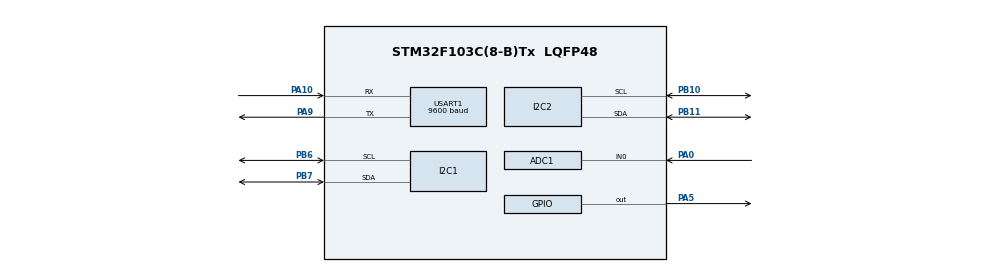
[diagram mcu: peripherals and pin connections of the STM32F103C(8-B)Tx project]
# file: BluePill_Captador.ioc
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ADC1.Channel-0\#ChannelRegularConversion=ADC_CHANNEL_0
ADC1.NbrOfConversionFlag=1
ADC1.Rank-0\#ChannelRegularConversion=1
ADC1.SamplingTime-0\#ChannelRegularConversion=ADC_SAMPLETIME_1CYCLE_5
ADC1.master=1
I2C1.I2C_Mode=I2C_Fast
I2C2.I2C_Mode=I2C_Fast
Mcu.Family=STM32F1
Mcu.Name=STM32F103C(8-B)Tx
Mcu.Package=LQFP48
NVIC.PriorityGroup=NVIC_PRIORITYGROUP_4
PA0-WKUP.Signal=ADCx_IN0
PA10.Mode=Asynchronous
PA10.Signal=USART1_RX
PA13.Mode=Serial_Wire
PA13.Signal=SYS_JTMS-SWDIO
PA14.Mode=Serial_Wire
PA14.Signal=SYS_JTCK-SWCLK
PA5.Signal=GPIO_Output
PA9.Mode=Asynchronous
PA9.Signal=USART1_TX
PB10.Mode=I2C
PB10.Signal=I2C2_SCL
PB11.Mode=I2C
PB11.Signal=I2C2_SDA
PB6.Mode=I2C
PB6.Signal=I2C1_SCL
PB7.Mode=I2C
PB7.Signal=I2C1_SDA
ProjectManager.HeapSize=0x200
ProjectManager.StackSize=0x400
ProjectManager.TargetToolchain=STM32CubeIDE
RCC.APB1Freq_Value=8000000
RCC.APB2Freq_Value=8000000
SH.ADCx_IN0.0=ADC1_IN0,IN0
USART1.BaudRate=9600
USART1.VirtualMode=VM_ASYNC
board=custom

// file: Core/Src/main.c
/* USER CODE BEGIN Header */
/**
  ******************************************************************************
  * @file           : main.c
  * @brief          : Main program body
  ******************************************************************************
  * @attention
  *
  * <h2><center>&copy; Copyright (c) 2021 STMicroelectronics.
  * All rights reserved.</center></h2>
  *
  * This software component is licensed by ST under BSD 3-Clause license,
  * the "License"; You may not use this file except in compliance with the
  * License. You may obtain a copy of the License at:
  *                        opensource.org/licenses/BSD-3-Clause
  *
  ******************************************************************************
  */
/* USER CODE END Header */
#include "main.h"

/* USER CODE BEGIN Includes */
#include <math.h>
#include <stdlib.h>
#include <stdio.h>
#include "HMC5883L.h"
/* USER CODE END Includes */

/* USER CODE BEGIN PD */

//DEFIINCIÓN DE LAS DIRECCIONES DE LOS REGISTROS DEL MPU6050

/* USER CODE END PD */

ADC_HandleTypeDef hadc1;

I2C_HandleTypeDef hi2c1;
I2C_HandleTypeDef hi2c2;

UART_HandleTypeDef huart1;

/* USER CODE BEGIN PV */

typedef struct
{

    int16_t Accel_X_RAW;
    int16_t Accel_Y_RAW;
    int16_t Accel_Z_RAW;
    double Ax;
    double Ay;
    double Az;

    int16_t Gyro_X_RAW;
    int16_t Gyro_Y_RAW;
    int16_t Gyro_Z_RAW;
    double Gx;
    double Gy;
    double Gz;

    float Temperature;

double pitch;
double jaw;
double roll;

double No_fil_ang;
    double KalmanAngleX;
    double KalmanAngleY;
    double timer;
} MPU6050_t;

typedef struct{
	int16_t mx;
	int16_t my;
	int16_t mz;
	float Xh;
	float Yh;
	float compass;
	float compass_offset;
	float Kalman;
}HMC5883L_t;

// Kalman structure
typedef struct
{
    double Q_angle;
    double Q_bias;
    double R_measure;
    double angle;
    double bias;
    double P[2][2];
} Kalman_t;

typedef struct{
	float L1;
	float L2;
	float L1_robot;
	float L2_robot;
	float TamRatio;
	float base;
	float codo;
	float servo;
	char base_t[32];
	char codo_t[32];
	char servo_t[32];
} Kinematic_t;

//MODELO CINEMATICO

#define RAD_TO_DEG 57.295779513082320876798154814105

#define WHO_AM_I_REG 0x75
#define PWR_MGMT_1_REG 0x6B
#define SMPLRT_DIV_REG 0x19
#define ACCEL_CONFIG_REG 0x1C
#define ACCEL_XOUT_H_REG 0x3B
#define TEMP_OUT_H_REG 0x41
#define GYRO_CONFIG_REG 0x1B
#define GYRO_XOUT_H_REG 0x43

// Setup MPU6050
#define MPU6050_ADDR 0xD0
const uint16_t i2c_timeout = 100;
const double Accel_Z_corrector = 14418.0;

uint32_t timer;
uint32_t timer_compass;

Kalman_t KalmanX_1 = {
    .Q_angle = 0.001f,  // 0.001
    .Q_bias = 0.0006f,   ///0.003f
    .R_measure = 0.05f}; // 0.03f

Kalman_t KalmanX_2 = {
    .Q_angle = 0.001f,
    .Q_bias = 0.0006f,
    .R_measure = 0.05f};

Kalman_t KalmanY_1 = {
    .Q_angle = 0.001f,
    .Q_bias = 0.0006f,
    .R_measure = 0.05f,
};
Kalman_t KalmanY_2 = {
    .Q_angle = 0.001f,
    .Q_bias = 0.006f,
    .R_measure = 0.05f,
};

Kalman_t Kalman_jaw={
		.Q_angle = 0.001f,
		    .Q_bias =0.0006f,
		    .R_measure = 0.06f,
};
Kinematic_t kinematic={
		.L1 = 0.25,
		.L2  =0.15,
		.L1_robot = 0.25,
		.L2_robot = 0.15,
};

MPU6050_t MPU6050_1 , MPU6050_2;
HMC5883L_t compass = {.compass_offset =0.00f};
 double giro_z;

 double P_previa,Kalman,ADC_val;
	char palabra[32];
	char palabra2[32];
	char palabra3[32];
	char palabra4[32];
	char palabra5[32];
	char palabra6[32];
	char info_real[32], info_kalman[32];
		char ln[] = "\n"; // \n\r
		char comma[] = ",";
double trans_time=0;

float desv_tipica = 2.0231;

  	int X_estimate,X,X_test;

  	float angulo_magne,angulo_magne2;
  	float Xh,Yh;
/* USER CODE END PV */

void SystemClock_Config(void);
static void MX_GPIO_Init(void);
static void MX_ADC1_Init(void);
static void MX_I2C1_Init(void);
static void MX_I2C2_Init(void);
static void MX_USART1_UART_Init(void);

/* USER CODE BEGIN 0 */

uint8_t MPU6050_Init(I2C_HandleTypeDef hi2c)
{
    uint8_t check;
    uint8_t Data;

    // check device ID WHO_AM_I

    HAL_I2C_Mem_Read(&hi2c, MPU6050_ADDR, WHO_AM_I_REG, 1, &check, 1, i2c_timeout);

    if (check == 104) // 0x68 will be returned by the sensor if everything goes well
    {
        // power management register 0X6B we should write all 0's to wake the sensor up
        Data = 0;
        HAL_I2C_Mem_Write(&hi2c, MPU6050_ADDR, PWR_MGMT_1_REG, 1, &Data, 1, i2c_timeout);

        // Set DATA RATE of 1KHz by writing SMPLRT_DIV register
        Data = 0x07;
        HAL_I2C_Mem_Write(&hi2c, MPU6050_ADDR, SMPLRT_DIV_REG, 1, &Data, 1, i2c_timeout);

        // Set accelerometer configuration in ACCEL_CONFIG Register
        // XA_ST=0,YA_ST=0,ZA_ST=0, FS_SEL=0 -> � 2g
        Data = 0x00;
        HAL_I2C_Mem_Write(&hi2c, MPU6050_ADDR, ACCEL_CONFIG_REG, 1, &Data, 1, i2c_timeout);

        // Set Gyroscopic configuration in GYRO_CONFIG Register
        // XG_ST=0,YG_ST=0,ZG_ST=0, FS_SEL=0 -> � 250 �/s
        Data = 0x00;
        HAL_I2C_Mem_Write(&hi2c, MPU6050_ADDR, GYRO_CONFIG_REG, 1, &Data, 1, i2c_timeout);
        return 0;
    }
    return 1;
}

void MPU6050_Read_Accel( MPU6050_t *DataStruct)
{
    uint8_t Rec_Data[6];

    // Read 6 BYTES of data starting from ACCEL_XOUT_H register

    HAL_I2C_Mem_Read(&hi2c1, MPU6050_ADDR, ACCEL_XOUT_H_REG, 1, Rec_Data, 6, i2c_timeout);

    DataStruct->Accel_X_RAW = (int16_t)(Rec_Data[0] << 8 | Rec_Data[1]);
    DataStruct->Accel_Y_RAW = (int16_t)(Rec_Data[2] << 8 | Rec_Data[3]);
    DataStruct->Accel_Z_RAW = (int16_t)(Rec_Data[4] << 8 | Rec_Data[5]);

    /*** convert the RAW values into acceleration in 'g'
         we have to divide according to the Full scale value set in FS_SEL
         I have configured FS_SEL = 0. So I am dividing by 16384.0
         for more details check ACCEL_CONFIG Register              ****/

    DataStruct->Ax = DataStruct->Accel_X_RAW / 16384.0;
    DataStruct->Ay = DataStruct->Accel_Y_RAW / 16384.0;
    DataStruct->Az = DataStruct->Accel_Z_RAW / Accel_Z_corrector;
}

void MPU6050_Read_Gyro(I2C_HandleTypeDef *I2Cx, MPU6050_t *DataStruct) {
    uint8_t Rec_Data[6];

    // Read 6 BYTES of data starting from GYRO_XOUT_H register

    HAL_I2C_Mem_Read(I2Cx, MPU6050_ADDR, GYRO_XOUT_H_REG, 1, Rec_Data, 6, i2c_timeout);

    DataStruct->Gyro_X_RAW = (int16_t) (Rec_Data[0] << 8 | Rec_Data[1]);
    DataStruct->Gyro_Y_RAW = (int16_t) (Rec_Data[2] << 8 | Rec_Data[3]);
    DataStruct->Gyro_Z_RAW = (int16_t) (Rec_Data[4] << 8 | Rec_Data[5]);

    /*** convert the RAW values into dps (�/s)
         we have to divide according to the Full scale value set in FS_SEL
         I have configured FS_SEL = 0. So I am dividing by 131.0
         for more details check GYRO_CONFIG Register              ****/

    DataStruct->Gx = DataStruct->Gyro_X_RAW / 131.0;
    DataStruct->Gy = DataStruct->Gyro_Y_RAW / 131.0;
    DataStruct->Gz = DataStruct->Gyro_Z_RAW / 131.0;
}

void MPU6050_Read_Temp(I2C_HandleTypeDef *I2Cx, MPU6050_t *DataStruct) {
    uint8_t Rec_Data[2];
    int16_t temp;

    // Read 2 BYTES of data starting from TEMP_OUT_H_REG register

    HAL_I2C_Mem_Read(I2Cx, MPU6050_ADDR, TEMP_OUT_H_REG, 1, Rec_Data, 2, i2c_timeout);

    temp = (int16_t) (Rec_Data[0] << 8 | Rec_Data[1]);
    DataStruct->Temperature = (float) ((int16_t) temp / (float) 340.0 + (float) 36.53);
}

double Kalman_getAngle(Kalman_t *Kalman, double newAngle, double newRate, double dt) {
    double rate = newRate - Kalman->bias;
    Kalman->angle += dt * rate;

    Kalman->P[0][0] += dt * (dt * Kalman->P[1][1] - Kalman->P[0][1] - Kalman->P[1][0] + Kalman->Q_angle);
    Kalman->P[0][1] -= dt * Kalman->P[1][1];
    Kalman->P[1][0] -= dt * Kalman->P[1][1];
    Kalman->P[1][1] += Kalman->Q_bias * dt;

    double S = Kalman->P[0][0] + Kalman->R_measure;
    double K[2];
    K[0] = Kalman->P[0][0] / S;
    K[1] = Kalman->P[1][0] / S;

    double y = newAngle - Kalman->angle;
    Kalman->angle += K[0] * y;
    Kalman->bias += K[1] * y;

    double P00_temp = Kalman->P[0][0];
    double P01_temp = Kalman->P[0][1];

    Kalman->P[0][0] -= K[0] * P00_temp;
    Kalman->P[0][1] -= K[0] * P01_temp;
    Kalman->P[1][0] -= K[1] * P00_temp;
    Kalman->P[1][1] -= K[1] * P01_temp;

    return Kalman->angle;
};

void MPU6050_Read_All(I2C_HandleTypeDef *I2Cx, MPU6050_t *DataStruct,Kalman_t *Kalman1, Kalman_t *Kalman2) {
    uint8_t Rec_Data[14];
    int16_t temp;

    // Read 14 BYTES of data starting from ACCEL_XOUT_H register

    HAL_I2C_Mem_Read(I2Cx, MPU6050_ADDR, ACCEL_XOUT_H_REG, 1, Rec_Data, 14, i2c_timeout);

    DataStruct->Accel_X_RAW = (int16_t) (Rec_Data[0] << 8 | Rec_Data[1]);
    DataStruct->Accel_Y_RAW = (int16_t) (Rec_Data[2] << 8 | Rec_Data[3]);
    DataStruct->Accel_Z_RAW = (int16_t) (Rec_Data[4] << 8 | Rec_Data[5]);
    temp = (int16_t) (Rec_Data[6] << 8 | Rec_Data[7]);
    DataStruct->Gyro_X_RAW = (int16_t) (Rec_Data[8] << 8 | Rec_Data[9]);
    DataStruct->Gyro_Y_RAW = (int16_t) (Rec_Data[10] << 8 | Rec_Data[11]);
    DataStruct->Gyro_Z_RAW = (int16_t) (Rec_Data[12] << 8 | Rec_Data[13]);

    DataStruct->Ax = DataStruct->Accel_X_RAW / 16384.0;
    DataStruct->Ay = DataStruct->Accel_Y_RAW / 16384.0;
    DataStruct->Az = DataStruct->Accel_Z_RAW / Accel_Z_corrector;
    DataStruct->Gx = DataStruct->Gyro_X_RAW / 131.0;
    DataStruct->Gy = DataStruct->Gyro_Y_RAW / 131.0;
    DataStruct->Gz = DataStruct->Gyro_Z_RAW / 131.0;

    // Kalman angle solve
    double dt = (double) (HAL_GetTick() - DataStruct->timer) / 1000;
    DataStruct->timer = HAL_GetTick();
    double roll;
    double roll_sqrt = sqrt(
            DataStruct->Accel_X_RAW * DataStruct->Accel_X_RAW + DataStruct->Accel_Z_RAW * DataStruct->Accel_Z_RAW);
if(roll_sqrt == 0){ DataStruct->roll = 0; }
else{
        roll = atan(DataStruct->Accel_Y_RAW / roll_sqrt) * RAD_TO_DEG;
        DataStruct->roll = roll;
}
        if(   abs(DataStruct->Gz ) > 2   ) DataStruct->jaw +=  (DataStruct->Gz)*dt;
DataStruct->No_fil_ang  += dt*DataStruct->Gy;

    double pitch = atan2(-DataStruct->Accel_X_RAW, DataStruct->Accel_Z_RAW) * RAD_TO_DEG;
    DataStruct->pitch = pitch;

    DataStruct->KalmanAngleX = Kalman_getAngle(Kalman1, roll, DataStruct->Gy, dt);
    DataStruct->KalmanAngleY = Kalman_getAngle(Kalman2, pitch, DataStruct->Gx, dt);

}

void HMC5883L_readAngle(HMC5883L_t *compass, MPU6050_t *mpu){
	compass-> Xh = compass->mx*cos(mpu->roll/RAD_TO_DEG) +compass->my*sin(mpu->roll/RAD_TO_DEG)*sin(-mpu->pitch/RAD_TO_DEG)-compass->mz*cos(-mpu->pitch/RAD_TO_DEG)*sin(mpu->roll/RAD_TO_DEG);
	compass->  Yh = compass->my*cos(-mpu->pitch/RAD_TO_DEG) + compass->mz*sin(-mpu->pitch/RAD_TO_DEG);

	if(compass-> Yh <0)   compass->compass = 360+(180/3.14)*atan2 (compass-> Yh,compass-> Xh);
	else if(compass-> Yh <0 && compass-> Xh<0) compass->compass = -(180/3.14)*atan2 (compass->Yh,compass->Xh);
	else compass->compass = (180/3.14)*atan2 (compass->Yh,compass->Xh);

compass->compass =compass->compass - compass->compass_offset;
double dt = (double) (HAL_GetTick() - timer_compass) / 1000;
timer_compass = HAL_GetTick();
compass->Kalman = Kalman_getAngle(&Kalman_jaw, compass->compass , -mpu->Gz, dt);

}

void HMC5883L_read(HMC5883L_t *compass){
	 HMC5883L_getHeading(&compass->mx,&compass->my,&compass->mz);
}
void calcKinematic(Kinematic_t *kinematic){
	float x, y,z;
	x =kinematic->TamRatio* cos(compass.Kalman/RAD_TO_DEG)*(kinematic->L1*cos(KalmanY_2.angle/RAD_TO_DEG) + kinematic->L2*cos(KalmanY_2.angle/RAD_TO_DEG + MPU6050_1.KalmanAngleX/RAD_TO_DEG));
	y = kinematic->TamRatio*sin(compass.Kalman/RAD_TO_DEG)*(kinematic->L1*cos(KalmanY_2.angle/RAD_TO_DEG) + kinematic->L2*cos(KalmanY_2.angle/RAD_TO_DEG + MPU6050_1.KalmanAngleX/RAD_TO_DEG));
	z = kinematic->TamRatio*kinematic->L1*sin(KalmanY_2.angle/RAD_TO_DEG)+ kinematic->L2*sin(KalmanY_2.angle/RAD_TO_DEG + MPU6050_1.KalmanAngleX/RAD_TO_DEG);
// FACOTR DE ESCALA

	//revertir a coordenadas del robot
	 float r = sqrt((x*x) + (y*y));
		  float a = sqrt((r*r) + (z*z));
		 kinematic->servo= RAD_TO_DEG*atan(y/x);
		kinematic->codo=  RAD_TO_DEG*acos((  pow(a,2) -(pow(kinematic->L1_robot,2)) - (pow(kinematic->L2_robot,2))  ) / (2*kinematic->L1_robot*kinematic->L2_robot)  );
		kinematic->base= RAD_TO_DEG*atan(z/r) - RAD_TO_DEG*acos( ((pow(a,2)) + (pow(kinematic->L1_robot,2)) - (pow(kinematic->L2_robot,2))     )   /(2*kinematic->L1_robot*a) );

//
//	gcvt(kinematic->base,10,kinematic->base_t);
//gcvt(kinematic->codo,10,kinematic->codo_t);
//gcvt( kinematic->servo, 10,kinematic->servo_t);

}
/* USER CODE END 0 */

int main(void)
{
  /* USER CODE BEGIN 1 */
 	float desv_estado = 2.0231;
  	float var = desv_tipica*desv_tipica;
  	float var_estado = desv_estado*desv_estado;
  	float P = var_estado;
  /* USER CODE END 1 */

  /* MCU Configuration--------------------------------------------------------*/

  /* Reset of all peripherals, Initializes the Flash interface and the Systick. */
  HAL_Init();

  /* Configure the system clock */
  SystemClock_Config();

  /* Initialize all configured peripherals */
  MX_GPIO_Init();
  MX_ADC1_Init();
  MX_I2C1_Init();
  MX_I2C2_Init();
  MX_USART1_UART_Init();
  /* USER CODE BEGIN 2 */

int16_t mx;
int16_t my;
int16_t mz;

float  offset;
 int start = 1;
 int start2 = 1;
  while ((start == 1) && (start2 == 1)){
 start =  MPU6050_Init(hi2c1) ;
  start2= 	  MPU6050_Init(hi2c2) ;

  I2Cdev_init(&hi2c2);
	        HMC5883L_initialize();
	        HMC5883L_testConnection();
	  	  HMC5883L_getHeading(&mx,&my,&mz);
	  	  MPU6050_Read_All(&hi2c1, &MPU6050_1,&KalmanX_1,&KalmanY_1);
	  	HMC5883L_read(&compass);
	  	 HMC5883L_readAngle(&compass,&MPU6050_1);
	  	 compass.compass_offset = compass.compass;

// if(mx != 0) start2 =1;
	int time = HAL_GetTick();
 while(HAL_GetTick() - time < 2000){
	 MPU6050_Read_All(&hi2c1, &MPU6050_1,&KalmanX_1,&KalmanY_1);
	 HMC5883L_read(&compass);
	 	  	 HMC5883L_readAngle(&compass,&MPU6050_1);
	 	  	 compass.compass_offset = compass.compass;
 }

  }
  kinematic.TamRatio =(kinematic.L1_robot + kinematic.L2_robot)/(kinematic.L1 + kinematic.L2);
  /* USER CODE END 2 */

  /* Infinite loop */
  /* USER CODE BEGIN WHILE */
  while (1)
  {
      MPU6050_Read_All(&hi2c1, &MPU6050_1,&KalmanX_1,&KalmanY_1);
	  MPU6050_Read_All(&hi2c2, &MPU6050_2,&KalmanX_2,&KalmanY_2);
	  if(MPU6050_2.Accel_X_RAW == 0){
		  MPU6050_Init(hi2c2);
		  MPU6050_Read_All(&hi2c2, &MPU6050_2,&KalmanX_2,&KalmanY_2);
	  }
	  //limite de medidas
//	  if(MPU6050_1.jaw > 90) MPU6050_1.jaw = 89.9;
//	  if(MPU6050_1.jaw < -90) MPU6050_1.jaw = -89.9;
//	  if(MPU6050_2.jaw > 90) MPU6050_2.jaw = 89.9;
//	  if(MPU6050_2.jaw < -90) MPU6050_2.jaw = -89.9;

	  HMC5883L_getHeading(&mx,&my,&mz);
	  HMC5883L_read(&compass);
	//antes de añadir nada, a grabarlo que ya tienes
angulo_magne = (180/3.14)*atan2 (my,mx )-offset;
Xh = mx*cos(MPU6050_1.roll/RAD_TO_DEG) +my*sin(MPU6050_1.roll/RAD_TO_DEG)*sin(-MPU6050_1.pitch/RAD_TO_DEG)-mz*cos(-MPU6050_1.pitch/RAD_TO_DEG)*sin(MPU6050_1.roll/RAD_TO_DEG);
Yh = my*cos(-MPU6050_1.pitch/RAD_TO_DEG) + mz*sin(-MPU6050_1.pitch/RAD_TO_DEG);

if(Yh <0)   angulo_magne2 = 360+(180/3.14)*atan2 (Yh,Xh);
else if(Yh <0 && Xh<0)angulo_magne2 = -(180/3.14)*atan2 (Yh,Xh);
else angulo_magne2 = (180/3.14)*atan2 (Yh,Xh);

HMC5883L_readAngle(&compass,&MPU6050_1);

//else if(Yh > 0) angulo_magne2 = (180/3.14)*atan2 (Xh,Yh);
//else angulo_magne2 = 360-(180/3.14)*atan2 (Xh,Yh);

	  P_previa =  P;

	 	 	Kalman = P/(P+var);

	 	 HAL_ADC_Start(&hadc1);
	 	 	 if(HAL_ADC_PollForConversion(&hadc1,HAL_MAX_DELAY)==HAL_OK){
	 	 		ADC_val=HAL_ADC_GetValue(&hadc1) ;  // entre 2500 y 1500 . quzás ajusatble tocando la resolucion
	 	 	   }

	 	 	 X_estimate = X + Kalman*(ADC_val-X);
	 	 		 	  P = (1-Kalman)*P_previa + fabs(X - X_estimate)*0.01;
	 	 		 	  X = X_estimate;
	 	 		 	  X_estimate =(X_estimate)/10 -20;
	 	 		 	 X_estimate =X_estimate +60;
X_test = ADC_val/10 +40;

	 	 //UART
	 	 		 	char  ese[] = "s";
	 	 		 	char  eMe[] = "M";
	 	 		 	char  eme[] = "m";
	 	 		 	char  eSe[] = "S";

	 	 		 	  //conversion
	 // 		   KalmanAngle5 =  (KalmanAngle5 +300 )/2;//servo
	 //	 		 	 KalmanAngle4 =  KalmanAngle4*(-2) + 150;//base
	 //	 		 	 KalmanAngle1=  KalmanAngle1*(-4) + 300;//codo
	 	 		 	calcKinematic(&kinematic);

	 	 		 	 gcvt(KalmanY_2.angle,10,palabra5);
	 	 		 	 gcvt(MPU6050_1.KalmanAngleX,10,palabra2);
	 	 		 	// gcvt(MPU6050_1.jaw,10,palabra6);
	 	 		 	gcvt(-compass.Kalman,10,palabra6);
	 	 		 	  itoa(X_estimate,info_kalman,10);
	 	 		 	  itoa(ADC_val,info_real,10);

	 	 		 	 gcvt(kinematic.servo,10,kinematic.servo_t);
	 	 			 gcvt(kinematic.codo,10,kinematic.codo_t);
	 	 			 gcvt(kinematic.base,10,kinematic.base_t);
//normal
	 	 		 	if( HAL_GetTick() -trans_time > 5){

	 	    HAL_UART_Transmit(&huart1, (uint8_t*)eMe, sizeof(char), 100);
	 		HAL_UART_Transmit(&huart1,(uint8_t*)palabra5,sizeof(float ), 100);//float son 4 int
	 		HAL_UART_Transmit(&huart1, (uint8_t*)ese, sizeof(char), 100);
	 		HAL_UART_Transmit(&huart1,(uint8_t*)palabra6,sizeof(float ), 100);
	 		HAL_UART_Transmit(&huart1, (uint8_t*)eme, sizeof(char), 100);
	 		HAL_UART_Transmit(&huart1,(uint8_t*)palabra2,sizeof(float ), 100);
	 		HAL_UART_Transmit(&huart1, (uint8_t*)eSe, sizeof(char), 100);
	 			HAL_UART_Transmit(&huart1,(uint8_t*)info_kalman,sizeof(float ), 100);
		  HAL_UART_Transmit(&huart1, (uint8_t*)ln, sizeof(comma), 100);

	 				trans_time = HAL_GetTick();

	 	 		 	}
//kinematics
//	 	 		 	if( HAL_GetTick() -trans_time > 5){
//
//	 	    HAL_UART_Transmit(&huart1, (uint8_t*)eMe, sizeof(char), 100);
//	 		HAL_UART_Transmit(&huart1,(uint8_t*)kinematic.base_t,sizeof(float ), 100);//float son 4 int
//	 		HAL_UART_Transmit(&huart1, (uint8_t*)ese, sizeof(char), 100);
//	 		HAL_UART_Transmit(&huart1,(uint8_t*)kinematic.servo_t,sizeof(float ), 100);
//	 		HAL_UART_Transmit(&huart1, (uint8_t*)eme, sizeof(char), 100);
//	 		HAL_UART_Transmit(&huart1,(uint8_t*)kinematic.codo_t,sizeof(float ), 100);
//	 		HAL_UART_Transmit(&huart1, (uint8_t*)eSe, sizeof(char), 100);
//	 			HAL_UART_Transmit(&huart1,(uint8_t*)info_kalman,sizeof(float ), 100);
//		  HAL_UART_Transmit(&huart1, (uint8_t*)ln, sizeof(comma), 100);
//
//
//	 				trans_time = HAL_GetTick();
//
//	 	 		 	}

	 	  //HAL_Delay (10);
    /* USER CODE END WHILE */

  }
}

void SystemClock_Config(void)
{
  RCC_OscInitTypeDef RCC_OscInitStruct = {0};
  RCC_ClkInitTypeDef RCC_ClkInitStruct = {0};
  RCC_PeriphCLKInitTypeDef PeriphClkInit = {0};

  /** Initializes the RCC Oscillators according to the specified parameters
  * in the RCC_OscInitTypeDef structure.
  */
  RCC_OscInitStruct.OscillatorType = RCC_OSCILLATORTYPE_HSI;
  RCC_OscInitStruct.HSIState = RCC_HSI_ON;
  RCC_OscInitStruct.HSICalibrationValue = RCC_HSICALIBRATION_DEFAULT;
  RCC_OscInitStruct.PLL.PLLState = RCC_PLL_NONE;
  if (HAL_RCC_OscConfig(&RCC_OscInitStruct) != HAL_OK)
  {
    Error_Handler();
  }
  /** Initializes the CPU, AHB and APB buses clocks
  */
  RCC_ClkInitStruct.ClockType = RCC_CLOCKTYPE_HCLK|RCC_CLOCKTYPE_SYSCLK
                              |RCC_CLOCKTYPE_PCLK1|RCC_CLOCKTYPE_PCLK2;
  RCC_ClkInitStruct.SYSCLKSource = RCC_SYSCLKSOURCE_HSI;
  RCC_ClkInitStruct.AHBCLKDivider = RCC_SYSCLK_DIV1;
  RCC_ClkInitStruct.APB1CLKDivider = RCC_HCLK_DIV1;
  RCC_ClkInitStruct.APB2CLKDivider = RCC_HCLK_DIV1;

  if (HAL_RCC_ClockConfig(&RCC_ClkInitStruct, FLASH_LATENCY_0) != HAL_OK)
  {
    Error_Handler();
  }
  PeriphClkInit.PeriphClockSelection = RCC_PERIPHCLK_ADC;
  PeriphClkInit.AdcClockSelection = RCC_ADCPCLK2_DIV2;
  if (HAL_RCCEx_PeriphCLKConfig(&PeriphClkInit) != HAL_OK)
  {
    Error_Handler();
  }
}

static void MX_ADC1_Init(void)
{

  ADC_ChannelConfTypeDef sConfig = {0};

  /** Common config
  */
  hadc1.Instance = ADC1;
  hadc1.Init.ScanConvMode = ADC_SCAN_DISABLE;
  hadc1.Init.ContinuousConvMode = DISABLE;
  hadc1.Init.DiscontinuousConvMode = DISABLE;
  hadc1.Init.ExternalTrigConv = ADC_SOFTWARE_START;
  hadc1.Init.DataAlign = ADC_DATAALIGN_RIGHT;
  hadc1.Init.NbrOfConversion = 1;
  if (HAL_ADC_Init(&hadc1) != HAL_OK)
  {
    Error_Handler();
  }
  /** Configure Regular Channel
  */
  sConfig.Channel = ADC_CHANNEL_0;
  sConfig.Rank = ADC_REGULAR_RANK_1;
  sConfig.SamplingTime = ADC_SAMPLETIME_1CYCLE_5;
  if (HAL_ADC_ConfigChannel(&hadc1, &sConfig) != HAL_OK)
  {
    Error_Handler();
  }

}

static void MX_I2C1_Init(void)
{

  hi2c1.Instance = I2C1;
  hi2c1.Init.ClockSpeed = 400000;
  hi2c1.Init.DutyCycle = I2C_DUTYCYCLE_2;
  hi2c1.Init.OwnAddress1 = 0;
  hi2c1.Init.AddressingMode = I2C_ADDRESSINGMODE_7BIT;
  hi2c1.Init.DualAddressMode = I2C_DUALADDRESS_DISABLE;
  hi2c1.Init.OwnAddress2 = 0;
  hi2c1.Init.GeneralCallMode = I2C_GENERALCALL_DISABLE;
  hi2c1.Init.NoStretchMode = I2C_NOSTRETCH_DISABLE;
  if (HAL_I2C_Init(&hi2c1) != HAL_OK)
  {
    Error_Handler();
  }

}

static void MX_I2C2_Init(void)
{

  hi2c2.Instance = I2C2;
  hi2c2.Init.ClockSpeed = 400000;
  hi2c2.Init.DutyCycle = I2C_DUTYCYCLE_2;
  hi2c2.Init.OwnAddress1 = 0;
  hi2c2.Init.AddressingMode = I2C_ADDRESSINGMODE_7BIT;
  hi2c2.Init.DualAddressMode = I2C_DUALADDRESS_DISABLE;
  hi2c2.Init.OwnAddress2 = 0;
  hi2c2.Init.GeneralCallMode = I2C_GENERALCALL_DISABLE;
  hi2c2.Init.NoStretchMode = I2C_NOSTRETCH_DISABLE;
  if (HAL_I2C_Init(&hi2c2) != HAL_OK)
  {
    Error_Handler();
  }

}

static void MX_USART1_UART_Init(void)
{

  huart1.Instance = USART1;
  huart1.Init.BaudRate = 9600;
  huart1.Init.WordLength = UART_WORDLENGTH_8B;
  huart1.Init.StopBits = UART_STOPBITS_1;
  huart1.Init.Parity = UART_PARITY_NONE;
  huart1.Init.Mode = UART_MODE_TX_RX;
  huart1.Init.HwFlowCtl = UART_HWCONTROL_NONE;
  huart1.Init.OverSampling = UART_OVERSAMPLING_16;
  if (HAL_UART_Init(&huart1) != HAL_OK)
  {
    Error_Handler();
  }

}

static void MX_GPIO_Init(void)
{
  GPIO_InitTypeDef GPIO_InitStruct = {0};

  /* GPIO Ports Clock Enable */
  __HAL_RCC_GPIOA_CLK_ENABLE();
  __HAL_RCC_GPIOB_CLK_ENABLE();

  /*Configure GPIO pin Output Level */
  HAL_GPIO_WritePin(GPIOA, GPIO_PIN_5, GPIO_PIN_RESET);

  /*Configure GPIO pin : PA5 */
  GPIO_InitStruct.Pin = GPIO_PIN_5;
  GPIO_InitStruct.Mode = GPIO_MODE_OUTPUT_PP;
  GPIO_InitStruct.Pull = GPIO_NOPULL;
  GPIO_InitStruct.Speed = GPIO_SPEED_FREQ_LOW;
  HAL_GPIO_Init(GPIOA, &GPIO_InitStruct);

}

void Error_Handler(void)
{
  __disable_irq();
  while (1)
  {
  }
}

/************************ (C) COPYRIGHT STMicroelectronics *****END OF FILE****/
